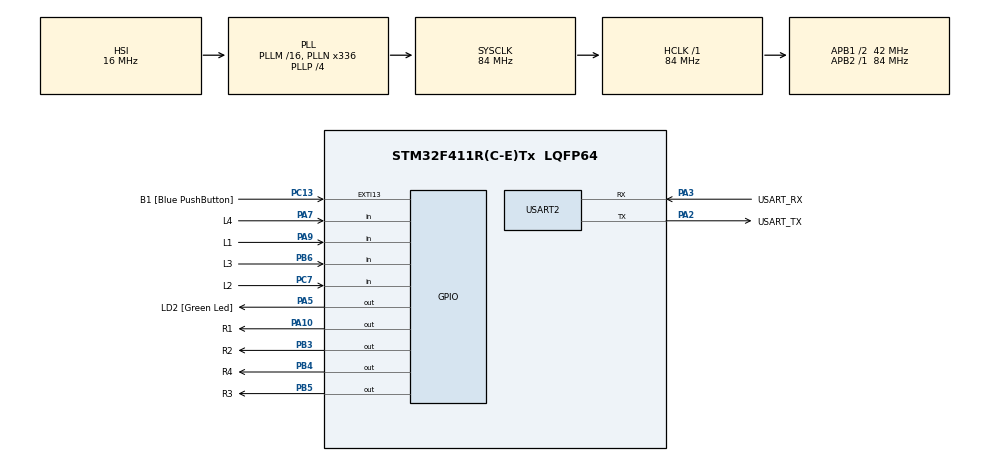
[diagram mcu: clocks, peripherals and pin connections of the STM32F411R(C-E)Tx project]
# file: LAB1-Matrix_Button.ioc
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Mcu.Family=STM32F4
Mcu.Name=STM32F411R(C-E)Tx
Mcu.Package=LQFP64
NVIC.PriorityGroup=NVIC_PRIORITYGROUP_0
PA10.GPIO_Label=R1
PA10.GPIO_ModeDefaultOutputPP=GPIO_MODE_OUTPUT_OD
PA10.GPIO_PuPd=GPIO_NOPULL
PA10.Signal=GPIO_Output
PA13.GPIO_Label=TMS
PA13.Mode=Serial_Wire
PA13.Signal=SYS_JTMS-SWDIO
PA14.GPIO_Label=TCK
PA14.Mode=Serial_Wire
PA14.Signal=SYS_JTCK-SWCLK
PA2.GPIO_Label=USART_TX
PA2.Mode=Asynchronous
PA2.Signal=USART2_TX
PA3.GPIO_Label=USART_RX
PA3.Mode=Asynchronous
PA3.Signal=USART2_RX
PA5.GPIO_Label=LD2 [Green Led]
PA5.Signal=GPIO_Output
PA7.GPIO_Label=L4
PA7.GPIO_PuPd=GPIO_PULLUP
PA7.Signal=GPIO_Input
PA9.GPIO_Label=L1
PA9.GPIO_PuPd=GPIO_PULLUP
PA9.Signal=GPIO_Input
PB3.GPIO_Label=R2
PB3.GPIO_ModeDefaultOutputPP=GPIO_MODE_OUTPUT_OD
PB3.GPIO_PuPd=GPIO_NOPULL
PB3.Signal=GPIO_Output
PB4.GPIO_Label=R4
PB4.GPIO_ModeDefaultOutputPP=GPIO_MODE_OUTPUT_OD
PB4.GPIO_PuPd=GPIO_NOPULL
PB4.Signal=GPIO_Output
PB5.GPIO_Label=R3
PB5.GPIO_ModeDefaultOutputPP=GPIO_MODE_OUTPUT_OD
PB5.GPIO_PuPd=GPIO_NOPULL
PB5.Signal=GPIO_Output
PB6.GPIO_Label=L3
PB6.GPIO_PuPd=GPIO_PULLUP
PB6.Signal=GPIO_Input
PC13-ANTI_TAMP.GPIO_Label=B1 [Blue PushButton]
PC13-ANTI_TAMP.GPIO_ModeDefaultEXTI=GPIO_MODE_IT_FALLING
PC13-ANTI_TAMP.Signal=GPXTI13
PC14-OSC32_IN.Mode=LSE-External-Oscillator
PC14-OSC32_IN.Signal=RCC_OSC32_IN
PC15-OSC32_OUT.Mode=LSE-External-Oscillator
PC15-OSC32_OUT.Signal=RCC_OSC32_OUT
PC7.GPIO_Label=L2
PC7.GPIO_PuPd=GPIO_PULLUP
PC7.Signal=GPIO_Input
PH0\ -\ OSC_IN.Mode=HSE-External-Clock-Source
PH0\ -\ OSC_IN.Signal=RCC_OSC_IN
PH1\ -\ OSC_OUT.Mode=HSE-External-Clock-Source
PH1\ -\ OSC_OUT.Signal=RCC_OSC_OUT
ProjectManager.HeapSize=0x200
ProjectManager.StackSize=0x400
ProjectManager.TargetToolchain=STM32CubeIDE
RCC.48MHZClocksFreq_Value=84000000
RCC.AHBFreq_Value=84000000
RCC.APB1CLKDivider=RCC_HCLK_DIV2
RCC.APB1Freq_Value=42000000
RCC.APB1TimFreq_Value=84000000
RCC.APB2Freq_Value=84000000
RCC.APB2TimFreq_Value=84000000
RCC.CortexFreq_Value=84000000
RCC.FLatency-AdvancedSettings=FLASH_LATENCY_2
RCC.HCLKFreq_Value=84000000
RCC.HSE_VALUE=8000000
RCC.HSI_VALUE=16000000
RCC.PLLN=336
RCC.PLLP=RCC_PLLP_DIV4
RCC.SYSCLKFreq_VALUE=84000000
RCC.SYSCLKSource=RCC_SYSCLKSOURCE_PLLCLK
RCC.VCOOutputFreq_Value=336000000
USART2.VirtualMode=VM_ASYNC
board=NUCLEO-F411RE

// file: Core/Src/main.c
/* USER CODE BEGIN Header */
/**
 ******************************************************************************
 * @file           : main.c
 * @brief          : Main program body
 ******************************************************************************
 * @attention
 *
 * Copyright (c) 2023 STMicroelectronics.
 * All rights reserved.
 *
 * This software is licensed under terms that can be found in the LICENSE file
 * in the root directory of this software component.
 * If no LICENSE file comes with this software, it is provided AS-IS.
 *
 ******************************************************************************
 */
/* USER CODE END Header */
#include "main.h"

UART_HandleTypeDef huart2;

/* USER CODE BEGIN PV */
typedef struct _PortPin {
	GPIO_TypeDef *PORT;
	uint16_t PIN;
} PortPin;

//declare PortPin R,L
PortPin R[4] = { { GPIOA, GPIO_PIN_10 }, { GPIOB, GPIO_PIN_3 }, { GPIOB,
GPIO_PIN_5 }, { GPIOB, GPIO_PIN_4 } };

PortPin L[4] = { { GPIOA, GPIO_PIN_9 }, { GPIOC, GPIO_PIN_7 }, { GPIOB,
GPIO_PIN_6 }, { GPIOA, GPIO_PIN_7 } };

uint32_t ButtonMatrix = 0;

uint32_t PreButtonMatrix = 0;
uint16_t StudentID[12] = { 0, 0, 0, 0, 0, 0, 0, 0, 0, 0, 0 };
uint16_t digitStudentID = 1;
/* USER CODE END PV */

void SystemClock_Config(void);
static void MX_GPIO_Init(void);
static void MX_USART2_UART_Init(void);
/* USER CODE BEGIN PFP */

void ReadMatrixButton_1Row();
void checkStudentID(uint16_t MatrixButton);

/* USER CODE END PFP */

int main(void) {

	/* MCU Configuration--------------------------------------------------------*/

	/* Reset of all peripherals, Initializes the Flash interface and the Systick. */
	HAL_Init();

	/* Configure the system clock */
	SystemClock_Config();

	/* Initialize all configured peripherals */
	MX_GPIO_Init();
	MX_USART2_UART_Init();

	/* Infinite loop */
	while (1) {

		/* USER CODE BEGIN 3 */

		static uint32_t timestamp = 0;
		if (HAL_GetTick() >= timestamp) {
			timestamp = HAL_GetTick() + 10;
			ReadMatrixButton_1Row();

			if (PreButtonMatrix == 0 && ButtonMatrix > 0) {
				checkStudentID(ButtonMatrix);
			}

		}

		PreButtonMatrix = ButtonMatrix;
	}
	/* USER CODE END 3 */
}

void SystemClock_Config(void) {
	RCC_OscInitTypeDef RCC_OscInitStruct = { 0 };
	RCC_ClkInitTypeDef RCC_ClkInitStruct = { 0 };

	/** Configure the main internal regulator output voltage
	 */
	__HAL_RCC_PWR_CLK_ENABLE();
	__HAL_PWR_VOLTAGESCALING_CONFIG(PWR_REGULATOR_VOLTAGE_SCALE1);

	/** Initializes the RCC Oscillators according to the specified parameters
	 * in the RCC_OscInitTypeDef structure.
	 */
	RCC_OscInitStruct.OscillatorType = RCC_OSCILLATORTYPE_HSI;
	RCC_OscInitStruct.HSIState = RCC_HSI_ON;
	RCC_OscInitStruct.HSICalibrationValue = RCC_HSICALIBRATION_DEFAULT;
	RCC_OscInitStruct.PLL.PLLState = RCC_PLL_ON;
	RCC_OscInitStruct.PLL.PLLSource = RCC_PLLSOURCE_HSI;
	RCC_OscInitStruct.PLL.PLLM = 16;
	RCC_OscInitStruct.PLL.PLLN = 336;
	RCC_OscInitStruct.PLL.PLLP = RCC_PLLP_DIV4;
	RCC_OscInitStruct.PLL.PLLQ = 4;
	if (HAL_RCC_OscConfig(&RCC_OscInitStruct) != HAL_OK) {
		Error_Handler();
	}

	/** Initializes the CPU, AHB and APB buses clocks
	 */
	RCC_ClkInitStruct.ClockType = RCC_CLOCKTYPE_HCLK | RCC_CLOCKTYPE_SYSCLK
			| RCC_CLOCKTYPE_PCLK1 | RCC_CLOCKTYPE_PCLK2;
	RCC_ClkInitStruct.SYSCLKSource = RCC_SYSCLKSOURCE_PLLCLK;
	RCC_ClkInitStruct.AHBCLKDivider = RCC_SYSCLK_DIV1;
	RCC_ClkInitStruct.APB1CLKDivider = RCC_HCLK_DIV2;
	RCC_ClkInitStruct.APB2CLKDivider = RCC_HCLK_DIV1;

	if (HAL_RCC_ClockConfig(&RCC_ClkInitStruct, FLASH_LATENCY_2) != HAL_OK) {
		Error_Handler();
	}
}

static void MX_USART2_UART_Init(void) {

	huart2.Instance = USART2;
	huart2.Init.BaudRate = 115200;
	huart2.Init.WordLength = UART_WORDLENGTH_8B;
	huart2.Init.StopBits = UART_STOPBITS_1;
	huart2.Init.Parity = UART_PARITY_NONE;
	huart2.Init.Mode = UART_MODE_TX_RX;
	huart2.Init.HwFlowCtl = UART_HWCONTROL_NONE;
	huart2.Init.OverSampling = UART_OVERSAMPLING_16;
	if (HAL_UART_Init(&huart2) != HAL_OK) {
		Error_Handler();
	}

}

static void MX_GPIO_Init(void) {
	GPIO_InitTypeDef GPIO_InitStruct = { 0 };

	/* GPIO Ports Clock Enable */
	__HAL_RCC_GPIOC_CLK_ENABLE();
	__HAL_RCC_GPIOH_CLK_ENABLE();
	__HAL_RCC_GPIOA_CLK_ENABLE();
	__HAL_RCC_GPIOB_CLK_ENABLE();

	/*Configure GPIO pin Output Level */
	HAL_GPIO_WritePin(GPIOA, LD2_Pin | R1_Pin, GPIO_PIN_RESET);

	/*Configure GPIO pin Output Level */
	HAL_GPIO_WritePin(GPIOB, R2_Pin | R4_Pin | R3_Pin, GPIO_PIN_RESET);

	/*Configure GPIO pin : B1_Pin */
	GPIO_InitStruct.Pin = B1_Pin;
	GPIO_InitStruct.Mode = GPIO_MODE_IT_FALLING;
	GPIO_InitStruct.Pull = GPIO_NOPULL;
	HAL_GPIO_Init(B1_GPIO_Port, &GPIO_InitStruct);

	/*Configure GPIO pin : LD2_Pin */
	GPIO_InitStruct.Pin = LD2_Pin;
	GPIO_InitStruct.Mode = GPIO_MODE_OUTPUT_PP;
	GPIO_InitStruct.Pull = GPIO_NOPULL;
	GPIO_InitStruct.Speed = GPIO_SPEED_FREQ_LOW;
	HAL_GPIO_Init(LD2_GPIO_Port, &GPIO_InitStruct);

	/*Configure GPIO pins : L4_Pin L1_Pin */
	GPIO_InitStruct.Pin = L4_Pin | L1_Pin;
	GPIO_InitStruct.Mode = GPIO_MODE_INPUT;
	GPIO_InitStruct.Pull = GPIO_PULLUP;
	HAL_GPIO_Init(GPIOA, &GPIO_InitStruct);

	/*Configure GPIO pin : L2_Pin */
	GPIO_InitStruct.Pin = L2_Pin;
	GPIO_InitStruct.Mode = GPIO_MODE_INPUT;
	GPIO_InitStruct.Pull = GPIO_PULLUP;
	HAL_GPIO_Init(L2_GPIO_Port, &GPIO_InitStruct);

	/*Configure GPIO pin : R1_Pin */
	GPIO_InitStruct.Pin = R1_Pin;
	GPIO_InitStruct.Mode = GPIO_MODE_OUTPUT_OD;
	GPIO_InitStruct.Pull = GPIO_NOPULL;
	GPIO_InitStruct.Speed = GPIO_SPEED_FREQ_LOW;
	HAL_GPIO_Init(R1_GPIO_Port, &GPIO_InitStruct);

	/*Configure GPIO pins : R2_Pin R4_Pin R3_Pin */
	GPIO_InitStruct.Pin = R2_Pin | R4_Pin | R3_Pin;
	GPIO_InitStruct.Mode = GPIO_MODE_OUTPUT_OD;
	GPIO_InitStruct.Pull = GPIO_NOPULL;
	GPIO_InitStruct.Speed = GPIO_SPEED_FREQ_LOW;
	HAL_GPIO_Init(GPIOB, &GPIO_InitStruct);

	/*Configure GPIO pin : L3_Pin */
	GPIO_InitStruct.Pin = L3_Pin;
	GPIO_InitStruct.Mode = GPIO_MODE_INPUT;
	GPIO_InitStruct.Pull = GPIO_PULLUP;
	HAL_GPIO_Init(L3_GPIO_Port, &GPIO_InitStruct);

}

/* USER CODE BEGIN 4 */
void ReadMatrixButton_1Row() {
	//
	static uint8_t X = 0;

	//READ L1-L4
	register int i;
	for (i = 0; i < 4; i++) {
		if (HAL_GPIO_ReadPin(L[i].PORT, L[i].PIN)) {
			ButtonMatrix &= ~(1 << (X * 4 + i));

		} else {
			ButtonMatrix |= 1 << (X * 4 + i);

		}

	}
	//SET RX
	HAL_GPIO_WritePin(R[X].PORT, R[X].PIN, 1);
	//RESET RX+1%4
	HAL_GPIO_WritePin(R[(X + 1) % 4].PORT, R[(X + 1) % 4].PIN, 0);
	X++;
	X %= 4;
}

// 6 = 10000000000000 : 8192
// 4 = 10 : 2
// 3 = 1000000000000000 : -32768
// 0 = 100 : 4
// 5 = 100000 : 32
// 9 = 1000000000000 : 4096
// clear = 100000000 : 256
// ok = 10000000000 : 1024

void checkStudentID(uint16_t MatrixButton) {
	//static uint16_t PredigitStudentID = 1;

	switch (digitStudentID) {
	case 1:
		if (MatrixButton == 8192) {
			StudentID[digitStudentID - 1] = 6;
			digitStudentID = 2;
		} else if (MatrixButton == 256) {
			HAL_GPIO_WritePin(GPIOA, GPIO_PIN_5, RESET);
			for (uint8_t i = 0; i < 12; i++) {
				StudentID[i] = 0;
			}
			digitStudentID = 1;
		} else {
			StudentID[digitStudentID - 1] = 13;
			digitStudentID = 13;
		}
		break;
	case 2:
		if (MatrixButton == 2) {
			StudentID[digitStudentID - 1] = 4;
			digitStudentID = 3;
		} else if (MatrixButton == 256) {
			HAL_GPIO_WritePin(GPIOA, GPIO_PIN_5, RESET);
			for (uint8_t i = 0; i < 12; i++) {
				StudentID[i] = 0;
			}
			digitStudentID = 1;
		} else {
			StudentID[digitStudentID - 1] = 13;
			digitStudentID = 13;
		}
		break;
	case 3:
		if (MatrixButton == 32768) {
			StudentID[digitStudentID - 1] = 3;
			digitStudentID = 4;
		} else if (MatrixButton == 256) {
			HAL_GPIO_WritePin(GPIOA, GPIO_PIN_5, RESET);
			for (uint8_t i = 0; i < 12; i++) {
				StudentID[i] = 0;
			}
			digitStudentID = 1;
		} else {
			StudentID[digitStudentID - 1] = 13;
			digitStudentID = 13;
		}
		break;
	case 4:
		if (MatrixButton == 2) {
			StudentID[digitStudentID - 1] = 4;
			digitStudentID = 5;
		} else if (MatrixButton == 256) {
			HAL_GPIO_WritePin(GPIOA, GPIO_PIN_5, RESET);
			for (uint8_t i = 0; i < 12; i++) {
				StudentID[i] = 0;
			}
			digitStudentID = 1;
		} else {
			StudentID[digitStudentID - 1] = 13;
			digitStudentID = 13;
		}
		break;
	case 5:
		if (MatrixButton == 4) {
			StudentID[digitStudentID - 1] = 0;
			digitStudentID = 6;
		} else if (MatrixButton == 256) {
			HAL_GPIO_WritePin(GPIOA, GPIO_PIN_5, RESET);
			for (uint8_t i = 0; i < 12; i++) {
				StudentID[i] = 0;
			}
			digitStudentID = 1;
		} else {
			StudentID[digitStudentID - 1] = 13;
			digitStudentID = 13;
		}
		break;
	case 6:
		if (MatrixButton == 32) {
			StudentID[digitStudentID - 1] = 5;
			digitStudentID = 7;
		} else if (MatrixButton == 256) {
			HAL_GPIO_WritePin(GPIOA, GPIO_PIN_5, RESET);
			for (uint8_t i = 0; i < 12; i++) {
				StudentID[i] = 0;
			}
			digitStudentID = 1;
		} else {
			StudentID[digitStudentID - 1] = 13;
			digitStudentID = 13;
		}
		break;
	case 7:
		if (MatrixButton == 4) {
			StudentID[digitStudentID - 1] = 0;
			digitStudentID = 8;
		} else if (MatrixButton == 256) {
			HAL_GPIO_WritePin(GPIOA, GPIO_PIN_5, RESET);
			for (uint8_t i = 0; i < 12; i++) {
				StudentID[i] = 0;
			}
			digitStudentID = 1;
		} else {
			StudentID[digitStudentID - 1] = 13;
			digitStudentID = 13;
		}
		break;
	case 8:
		if (MatrixButton == 4) {
			StudentID[digitStudentID - 1] = 0;
			digitStudentID = 9;
		} else if (MatrixButton == 256) {
			HAL_GPIO_WritePin(GPIOA, GPIO_PIN_5, RESET);
			for (uint8_t i = 0; i < 12; i++) {
				StudentID[i] = 0;
			}
			digitStudentID = 1;
		} else {
			StudentID[digitStudentID - 1] = 13;
			digitStudentID = 13;
		}
		break;
	case 9:
		if (MatrixButton == 4) {
			StudentID[digitStudentID - 1] = 0;
			digitStudentID = 10;
		} else if (MatrixButton == 256) {
			HAL_GPIO_WritePin(GPIOA, GPIO_PIN_5, RESET);
			for (uint8_t i = 0; i < 12; i++) {
				StudentID[i] = 0;
			}
			digitStudentID = 1;
		} else {
			StudentID[digitStudentID - 1] = 13;
			digitStudentID = 13;
		}
		break;
	case 10:
		if (MatrixButton == 32768) {
			StudentID[digitStudentID - 1] = 3;
			digitStudentID = 11;
		} else if (MatrixButton == 256) {
			HAL_GPIO_WritePin(GPIOA, GPIO_PIN_5, RESET);
			for (uint8_t i = 0; i < 12; i++) {
				StudentID[i] = 0;
			}
			digitStudentID = 1;
		} else {
			StudentID[digitStudentID - 1] = 13;
			digitStudentID = 13;
		}
		break;
	case 11:
		if (MatrixButton == 4096) {
			StudentID[digitStudentID - 1] = 9;
			digitStudentID = 12;
		} else if (MatrixButton == 256) {
			HAL_GPIO_WritePin(GPIOA, GPIO_PIN_5, RESET);
			for (uint8_t i = 0; i < 12; i++) {
				StudentID[i] = 0;
			}
			digitStudentID = 1;
		} else {
			StudentID[digitStudentID - 1] = 13;
			digitStudentID = 13;
		}
		break;
	case 12: // press OK
		if (MatrixButton == 1024) {
			HAL_GPIO_WritePin(GPIOA, GPIO_PIN_5, SET);
			digitStudentID = 13;
		} else if (MatrixButton == 256) {
			HAL_GPIO_WritePin(GPIOA, GPIO_PIN_5, RESET);
			for (uint8_t i = 0; i < 12; i++) {
				StudentID[i] = 0;
			}
			digitStudentID = 1;
		} else {
			StudentID[digitStudentID - 1] = 13;
			digitStudentID = 13;
		}
		break;
	case 13: // press Clear
		if (MatrixButton == 256) {
			HAL_GPIO_WritePin(GPIOA, GPIO_PIN_5, RESET);
			for (uint8_t i = 0; i < 12; i++) {
				StudentID[i] = 0;
			}
			digitStudentID = 1;
		}
		break;
	}

}

/* USER CODE END 4 */

void Error_Handler(void) {
	__disable_irq();
	while (1) {
	}
}
